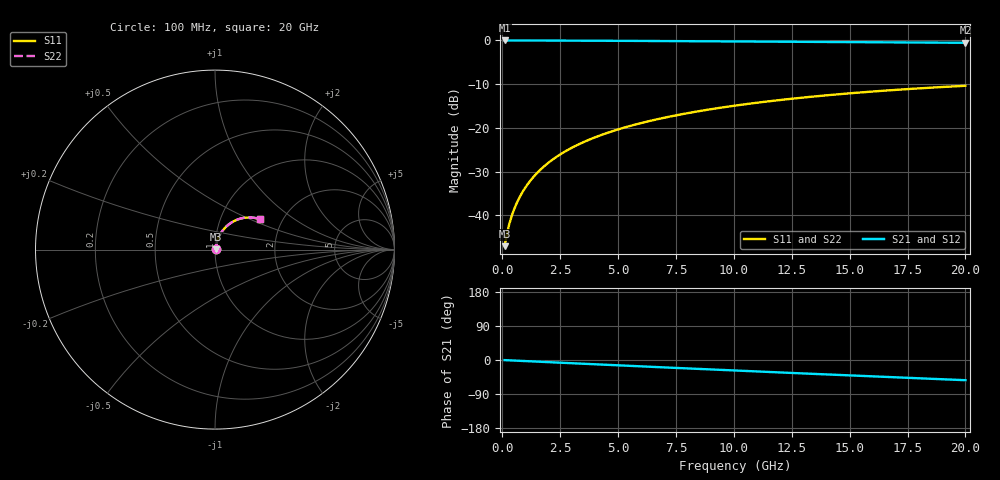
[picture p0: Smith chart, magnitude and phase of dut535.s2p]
! Touchstone file exported from HFSS 2026.1.0
!  File:  C:/ffzhzh/LocalFiles/Ansys_Project_Files/temp_train_BSMRDL_535_1783014826_55676.aedt
!  Generated:  01:55:15 AM Jul  3, 2026
!  Design:  BSMRDL
!  Project:  temp_train_BSMRDL_535_1783014826_55676
! Variables:
!  h_bsmrdl = 4.15um
!  h_ox = 20um
!  h_rdl = 5um
!  h_sub = 80um
!  h_tmrdl = 5um
!  h_tsv = 80um
!  h_via = 3um
!  l_bsmrdl = 898.25um
!  l_sub = 1298.25um
!  l_tmrdl = 200um
!  m_sub = 200um
!  pitch = 35.45um
!  r_tsv = 6um
!  s_tmrdl = 10um
!  w_bsmrdl = 21.74um
!  w_sub = 500um
!  w_tmrdl = 12um
!  x_tsv_center1 = 206um
!  x_tsv_center2 = 1125.99um
!  x_tsv_center3 = 1337.99um
!  x_tsv_center4 = 2257.98um
!  x_tsv_center5 = 2469.98um
!  x_tsv_center6 = 3389.97um
# GHz S MA R 50.000000
! Terminal data exported
! Port[1] = BSM_RDL1_1_T1
! Port[2] = BSM_RDL1_1_T2
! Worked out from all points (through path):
!   200 points, 100 MHz to 20 GHz, reference 50 ohm
!   highest |S21| = -0.03 dB at 100 MHz (marker M1); lowest = -0.6 dB at 20 GHz (marker M2)
!   group delay of S21, straight-line fit = 7.39 ps
!   lowest |S11| = -47.0 dB at 100 MHz (marker M3), VSWR 1.01, Z = 50.4 + j0.241 ohm
!   |S11| at or under -10 dB: start of sweep to end of sweep
!   |S22| runs from -47.0 to -10.4 dB; largest |S21 - S12| = 3.5e-15
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0.1  0.004454 32.5  0.9963 -0.3  0.9963 -0.3  0.004454 32.5
! Gamma 0 0 0 0
! Port Impedance 50 0 50 0
0.2  0.006148 48.3  0.9959 -0.6  0.9959 -0.6  0.006148 48.3
0.3  0.007951 56.2  0.9957 -0.9  0.9957 -0.9  0.007951 56.2
0.4  0.00975 61.1  0.9954 -1.2  0.9954 -1.2  0.00975 61.1
0.5  0.01156 64.7  0.9953 -1.5  0.9953 -1.5  0.01156 64.7
0.6  0.01338 67.3  0.9951 -1.7  0.9951 -1.7  0.01338 67.3
0.8  0.0171 70.8  0.9949 -2.3  0.9949 -2.3  0.0171 70.8
1  0.02088 73.0  0.9947 -2.9  0.9947 -2.9  0.02088 73.0
1.2  0.02471 74.4  0.9945 -3.4  0.9945 -3.4  0.02471 74.4
1.4  0.02855 75.2  0.9943 -4.0  0.9943 -4.0  0.02855 75.2
1.7  0.03434 75.9  0.9939 -4.9  0.9939 -4.9  0.03434 75.9
2.2  0.04397 76.0  0.9931 -6.3  0.9931 -6.3  0.04397 76.0
2.8  0.05543 75.4  0.992 -8.0  0.992 -8.0  0.05543 75.4
3.5  0.06861 74.1  0.9905 -9.9  0.9905 -9.9  0.06861 74.1
4.2  0.08155 72.6  0.9888 -11.9  0.9888 -11.9  0.08154 72.6
5  0.09601 70.7  0.9867 -14.1  0.9867 -14.1  0.096 70.7
6.8  0.1273 66.3  0.9814 -19.0  0.9814 -19.0  0.1273 66.3
8.3  0.1521 62.5  0.9767 -23.1  0.9767 -23.1  0.152 62.6
10.1  0.1803 58.0  0.9707 -27.9  0.9707 -27.9  0.1802 58.1
13.4  0.2274 49.9  0.9593 -36.5  0.9593 -36.5  0.2274 50.0
16.7  0.2684 41.8  0.9477 -45.0  0.9477 -45.0  0.2683 41.9
20  0.3026 33.8  0.9368 -53.3  0.9368 -53.3  0.3025 33.9
